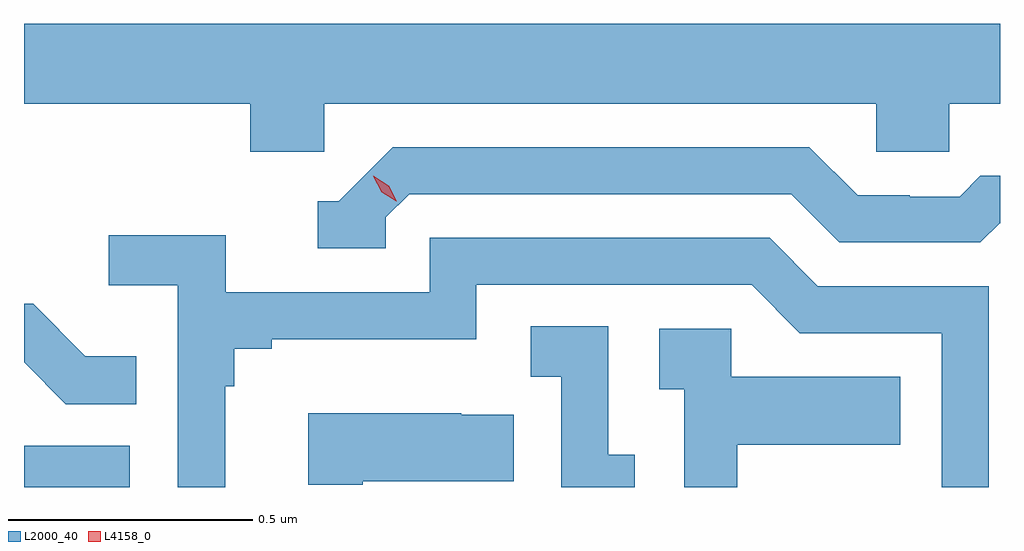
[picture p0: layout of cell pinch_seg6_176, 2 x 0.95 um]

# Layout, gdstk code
import gdstk
lib = gdstk.Library(unit=1e-6, precision=1e-09)
def R(c, l, rs):  # rectangles x0, y0, x1, y1
    for r in rs: c.add(gdstk.rectangle(r[:2], r[2:], *l))
def P(c, l, *ps):  # polygons
    for p in ps: c.add(gdstk.Polygon(p, *l))
L2000_40 = (2000, 40)
L4158_0 = (4158, 0)

pinch_seg6_176 = lib.new_cell('pinch_seg6_176')
R(pinch_seg6_176, L2000_40, [(1044.183,923.906,1044.4,923.991)])
P(pinch_seg6_176, L2000_40, [(1044.798,924.692),(1045.929,924.692),(1045.929,924.594),(1046.079,924.594),(1046.079,924.692),(1046.183,924.692),(1046.183,924.856),(1044.183,924.856),(1044.183,924.692),(1044.647,924.692),(1044.647,924.594),(1044.798,924.594)],
  [(1044.924,924.459),(1044.972,924.507),(1045.755,924.507),(1045.854,924.408),(1046.143,924.408),(1046.182,924.447),(1046.183,924.447),(1046.183,924.544),(1046.143,924.544),(1046.101,924.501),(1045.998,924.501),(1045.998,924.504),(1045.891,924.504),(1045.792,924.603),(1044.939,924.603),(1044.828,924.492),(1044.785,924.492),(1044.785,924.396),(1044.924,924.396)],
  [(1044.595,924.113),(1044.614,924.113),(1044.614,924.19),(1044.691,924.19),(1044.691,924.209),(1045.11,924.209),(1045.11,924.321),(1045.674,924.321),(1045.773,924.222),(1046.064,924.222),(1046.064,923.906),(1046.16,923.906),(1046.16,924.318),(1045.81,924.318),(1045.711,924.417),(1045.014,924.417),(1045.014,924.306),(1044.596,924.306),(1044.596,924.422),(1044.357,924.422),(1044.357,924.32),(1044.498,924.32),(1044.498,923.906),(1044.595,923.906)],
  [(1044.413,924.175),(1044.309,924.175),(1044.202,924.282),(1044.183,924.282),(1044.183,924.162),(1044.269,924.076),(1044.413,924.076)],
  [(1045.435,923.973),(1045.38,923.973),(1045.38,924.236),(1045.221,924.236),(1045.221,924.133),(1045.284,924.133),(1045.284,923.906),(1045.435,923.906)],
  [(1045.645,923.993),(1045.979,923.993),(1045.979,924.133),(1045.632,924.133),(1045.632,924.231),(1045.485,924.231),(1045.485,924.107),(1045.536,924.107),(1045.536,923.906),(1045.645,923.906)],
  [(1044.877,923.918),(1045.187,923.918),(1045.187,924.055),(1045.079,924.055),(1045.079,924.058),(1044.765,924.058),(1044.765,923.911),(1044.877,923.911)])
P(pinch_seg6_176, L4158_0, [(1044.946,924.492),(1044.916,924.511),(1044.899,924.543),(1044.899,924.544),(1044.899,924.544),(1044.93,924.524),(1044.947,924.492),(1044.947,924.492)])

lib.write_gds('pinch_seg6_176.gds')
